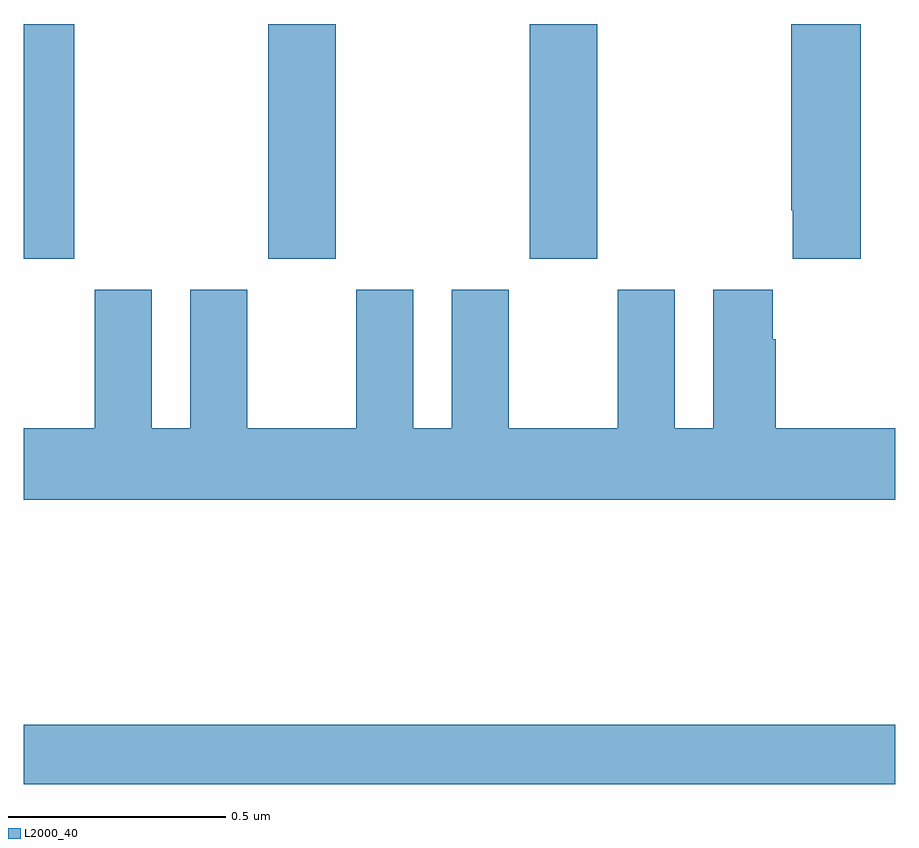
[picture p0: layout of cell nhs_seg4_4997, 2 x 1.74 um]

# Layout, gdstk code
import gdstk
lib = gdstk.Library(unit=1e-6, precision=1e-09)
def R(c, l, rs):  # rectangles x0, y0, x1, y1
    for r in rs: c.add(gdstk.rectangle(r[:2], r[2:], *l))
def P(c, l, *ps):  # polygons
    for p in ps: c.add(gdstk.Polygon(p, *l))
L2000_40 = (2000, 40)

nhs_seg4_4997 = lib.new_cell('nhs_seg4_4997')
R(nhs_seg4_4997, L2000_40, [(172,808.156,174,808.292), (172,809.361,172.116,809.9), (172.561,809.361,172.716,809.9), (173.161,809.361,173.316,809.9)])
P(nhs_seg4_4997, L2000_40, [(173.921,809.9),(173.761,809.9),(173.761,809.473),(173.765,809.473),(173.765,809.361),(173.921,809.361)],
  [(172.382,809.29),(172.382,808.972),(172.294,808.972),(172.294,809.29),(172.163,809.29),(172.163,808.972),(172,808.972),(172,808.808),(174,808.808),(174,808.972),(173.726,808.972),(173.726,809.177),(173.719,809.177),(173.719,809.29),(173.582,809.29),(173.582,808.972),(173.494,808.972),(173.494,809.29),(173.363,809.29),(173.363,808.972),(173.113,808.972),(173.113,809.29),(172.982,809.29),(172.982,808.972),(172.894,808.972),(172.894,809.29),(172.763,809.29),(172.763,808.972),(172.513,808.972),(172.513,809.29)])

lib.write_gds('nhs_seg4_4997.gds')
